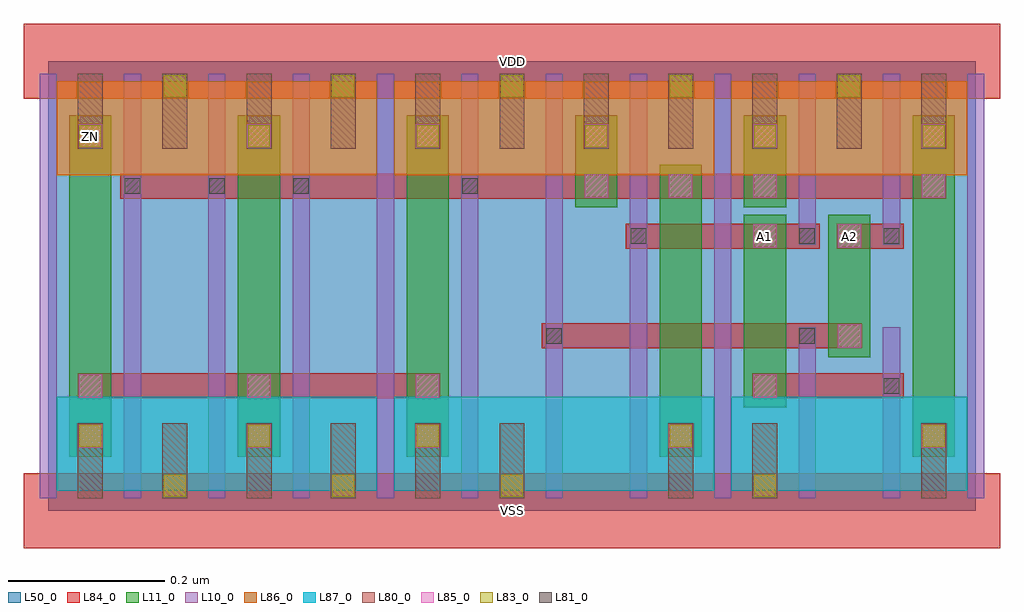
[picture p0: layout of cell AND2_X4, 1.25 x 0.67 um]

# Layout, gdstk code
import gdstk
lib = gdstk.Library(unit=1e-6, precision=1e-09)
def R(c, l, rs):  # rectangles x0, y0, x1, y1
    for r in rs: c.add(gdstk.rectangle(r[:2], r[2:], *l))
def A(c, l, x, y, w, h, nx, ny, dx, dy):  # array of equal rectangles
    R(c, l, [(x+i*dx, y+j*dy, x+i*dx+w, y+j*dy+h) for i in range(nx) for j in range(ny)])
L10_0 = (10, 0)
L11_0 = (11, 0)
L50_0 = (50, 0)
L80_0 = (80, 0)
L81_0 = (81, 0)
L83_0 = (83, 0)
L84_0 = (84, 0)
L85_0 = (85, 0)
L86_0 = (86, 0)
L87_0 = (87, 0)

and2_x4 = lib.new_cell('AND2_X4')
A(and2_x4, L10_0, -0.011, 0.016, 0.022, 0.544, 9, 1, 0.108, 0)
R(and2_x4, L10_0, [(0.961,0.016,0.983,0.235), (1.069,0.016,1.091,0.235), (1.177,0.016,1.199,0.56), (0.961,0.341,0.983,0.56), (1.069,0.341,1.091,0.56)])
A(and2_x4, L11_0, 0.027, 0.069, 0.054, 0.438, 3, 1, 0.216, 0)
R(and2_x4, L11_0, [(0.783,0.069,0.837,0.443), (1.107,0.069,1.161,0.507), (0.891,0.133,0.945,0.379), (0.999,0.197,1.053,0.379), (0.675,0.389,0.729,0.507), (0.891,0.389,0.945,0.507)])
R(and2_x4, L50_0, [(0,0,1.188,0.576)])
A(and2_x4, L80_0, 0.038, 0.016, 0.032, 0.096, 6, 1, 0.108, 0)
A(and2_x4, L80_0, 0.038, 0.464, 0.032, 0.096, 11, 1, 0.108, 0)
R(and2_x4, L80_0, [(0.794,0.016,0.826,0.112), (0.902,0.016,0.934,0.112), (1.118,0.016,1.15,0.112)])
A(and2_x4, L81_0, 0.098, 0.406, 0.02, 0.02, 3, 1, 0.108, 0)
R(and2_x4, L81_0, [(1.07,0.15,1.09,0.17), (0.638,0.214,0.658,0.234), (0.962,0.214,0.982,0.234), (0.746,0.342,0.766,0.362), (0.962,0.342,0.982,0.362), (1.07,0.342,1.09,0.362), (0.53,0.406,0.55,0.426)])
A(and2_x4, L83_0, 0.148, 0.018, 0.028, 0.028, 3, 1, 0.216, 0)
A(and2_x4, L83_0, 0.04, 0.082, 0.028, 0.028, 3, 1, 0.216, 0)
A(and2_x4, L83_0, 0.04, 0.466, 0.028, 0.028, 6, 1, 0.216, 0)
A(and2_x4, L83_0, 0.148, 0.53, 0.028, 0.028, 5, 1, 0.216, 0)
R(and2_x4, L83_0, [(0.904,0.018,0.932,0.046), (0.796,0.082,0.824,0.11), (1.12,0.082,1.148,0.11)])
A(and2_x4, L84_0, 0.038, 0.08, 0.032, 0.032, 3, 1, 0.216, 0)
A(and2_x4, L84_0, 0.038, 0.464, 0.032, 0.032, 6, 1, 0.216, 0)
R(and2_x4, L84_0, [(-0.031,-0.048,1.219,0.048), (0.794,0.08,0.826,0.112), (1.118,0.08,1.15,0.112), (0.038,0.144,0.502,0.176), (0.902,0.144,1.096,0.176), (0.632,0.208,1.042,0.24), (0.74,0.336,0.988,0.368), (1.01,0.336,1.096,0.368), (0.092,0.4,1.15,0.432), (-0.031,0.528,1.219,0.624)])
A(and2_x4, L85_0, 0.039, 0.081, 0.03, 0.03, 3, 2, 0.216, 0.064)
A(and2_x4, L85_0, 0.687, 0.401, 0.03, 0.03, 3, 1, 0.108, 0)
A(and2_x4, L85_0, 0.039, 0.465, 0.03, 0.03, 6, 1, 0.216, 0)
R(and2_x4, L85_0, [(0.795,0.081,0.825,0.111), (1.119,0.081,1.149,0.111), (0.903,0.145,0.933,0.175), (1.011,0.209,1.041,0.239), (0.903,0.337,0.933,0.367), (1.011,0.337,1.041,0.367), (1.119,0.401,1.149,0.431)])
R(and2_x4, L86_0, [(0.011,0.43,0.421,0.55), (0.443,0.43,0.853,0.55), (0.875,0.43,1.177,0.55)])
R(and2_x4, L87_0, [(0.011,0.026,0.421,0.146), (0.443,0.026,0.853,0.146), (0.875,0.026,1.177,0.146)])
and2_x4.add(gdstk.Label('VDD', (0.594,0.576), layer=88, texttype=0))
and2_x4.add(gdstk.Label('VSS', (0.594,0), layer=88, texttype=0))
and2_x4.add(gdstk.Label('A2', (1.026,0.352), layer=31, texttype=0))
and2_x4.add(gdstk.Label('A1', (0.918,0.352), layer=31, texttype=0))
and2_x4.add(gdstk.Label('ZN', (0.054,0.48), layer=31, texttype=0))

lib.write_gds('AND2_X4.gds')
